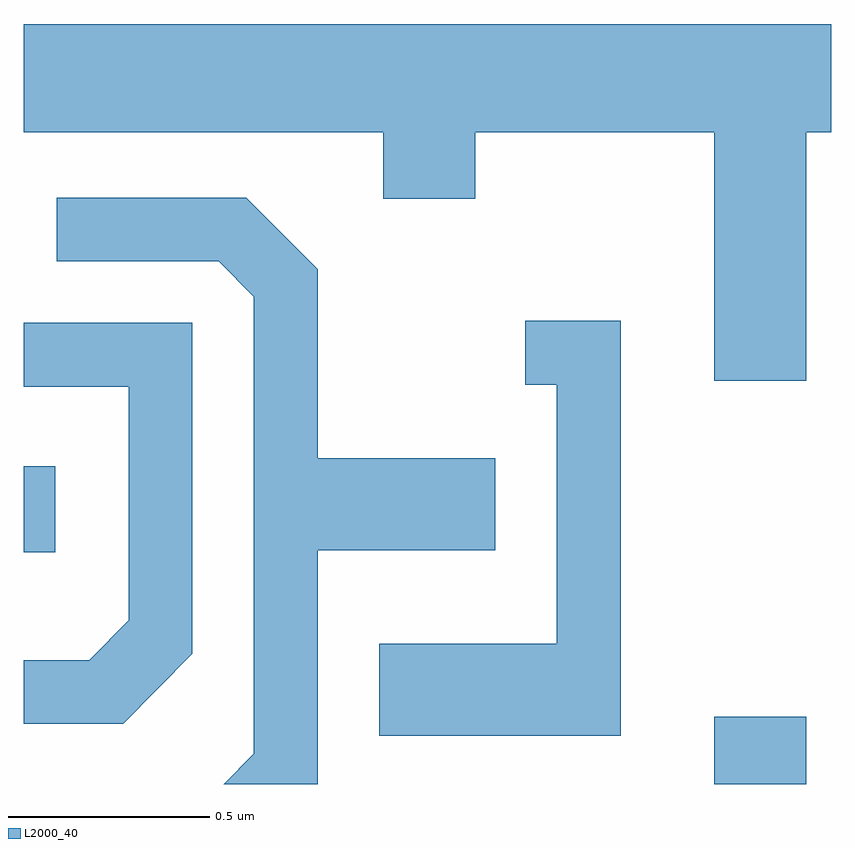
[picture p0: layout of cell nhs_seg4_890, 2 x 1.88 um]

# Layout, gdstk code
import gdstk
lib = gdstk.Library(unit=1e-6, precision=1e-09)
def R(c, l, rs):  # rectangles x0, y0, x1, y1
    for r in rs: c.add(gdstk.rectangle(r[:2], r[2:], *l))
def P(c, l, *ps):  # polygons
    for p in ps: c.add(gdstk.Polygon(p, *l))
L2000_40 = (2000, 40)

nhs_seg4_890 = lib.new_cell('nhs_seg4_890')
R(nhs_seg4_890, L2000_40, [(193.321,1321.982,193.549,1322.149), (191.611,1322.556,191.689,1322.769)])
P(nhs_seg4_890, L2000_40, [(193.549,1323.596),(193.611,1323.596),(193.611,1323.864),(191.611,1323.864),(191.611,1323.596),(192.501,1323.596),(192.501,1323.431),(192.729,1323.431),(192.729,1323.596),(193.321,1323.596),(193.321,1322.981),(193.549,1322.981)],
  [(192.339,1322.561),(192.779,1322.561),(192.779,1322.789),(192.339,1322.789),(192.339,1323.257),(192.162,1323.434),(191.693,1323.434),(191.693,1323.276),(192.094,1323.276),(192.181,1323.189),(192.181,1322.057),(192.107,1321.982),(192.339,1321.982)],
  [(193.089,1323.129),(192.853,1323.129),(192.853,1322.971),(192.931,1322.971),(192.931,1322.329),(192.491,1322.329),(192.491,1322.101),(193.089,1322.101)],
  [(192.029,1322.304),(192.029,1323.124),(191.611,1323.124),(191.611,1322.966),(191.871,1322.966),(191.871,1322.387),(191.774,1322.289),(191.611,1322.289),(191.611,1322.131),(191.857,1322.131)])

lib.write_gds('nhs_seg4_890.gds')
